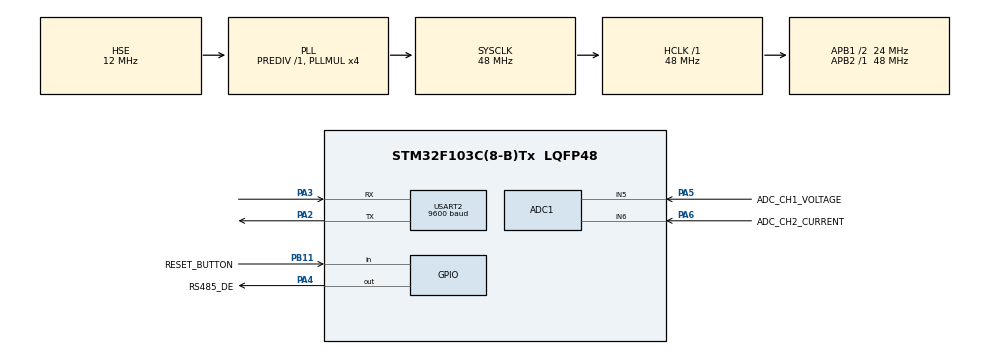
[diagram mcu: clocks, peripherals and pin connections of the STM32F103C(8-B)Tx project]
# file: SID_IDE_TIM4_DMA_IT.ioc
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ADC1.Channel-0\#ChannelRegularConversion=ADC_CHANNEL_5
ADC1.ContinuousConvMode=ENABLE
ADC1.ExternalTrigConv=ADC_EXTERNALTRIGCONV_T3_TRGO
ADC1.NbrOfConversionFlag=1
ADC1.Rank-0\#ChannelRegularConversion=1
ADC1.SamplingTime-0\#ChannelRegularConversion=ADC_SAMPLETIME_55CYCLES_5
ADC1.master=1
Dma.ADC1.0.Direction=DMA_PERIPH_TO_MEMORY
Dma.ADC1.0.Instance=DMA1_Channel1
Dma.ADC1.0.MemDataAlignment=DMA_MDATAALIGN_HALFWORD
Dma.ADC1.0.MemInc=DMA_MINC_ENABLE
Dma.ADC1.0.Mode=DMA_CIRCULAR
Dma.ADC1.0.PeriphDataAlignment=DMA_PDATAALIGN_HALFWORD
Dma.ADC1.0.PeriphInc=DMA_PINC_DISABLE
Dma.ADC1.0.Priority=DMA_PRIORITY_HIGH
Dma.Request0=ADC1
Dma.Request1=USART2_RX
Dma.Request2=USART2_TX
Dma.USART2_RX.1.Direction=DMA_PERIPH_TO_MEMORY
Dma.USART2_RX.1.Instance=DMA1_Channel6
Dma.USART2_RX.1.MemDataAlignment=DMA_MDATAALIGN_BYTE
Dma.USART2_RX.1.MemInc=DMA_MINC_ENABLE
Dma.USART2_RX.1.Mode=DMA_NORMAL
Dma.USART2_RX.1.PeriphDataAlignment=DMA_PDATAALIGN_BYTE
Dma.USART2_RX.1.PeriphInc=DMA_PINC_DISABLE
Dma.USART2_RX.1.Priority=DMA_PRIORITY_VERY_HIGH
Dma.USART2_TX.2.Direction=DMA_MEMORY_TO_PERIPH
Dma.USART2_TX.2.Instance=DMA1_Channel7
Dma.USART2_TX.2.MemDataAlignment=DMA_MDATAALIGN_BYTE
Dma.USART2_TX.2.MemInc=DMA_MINC_ENABLE
Dma.USART2_TX.2.Mode=DMA_NORMAL
Dma.USART2_TX.2.PeriphDataAlignment=DMA_PDATAALIGN_BYTE
Dma.USART2_TX.2.PeriphInc=DMA_PINC_DISABLE
Dma.USART2_TX.2.Priority=DMA_PRIORITY_HIGH
Mcu.Family=STM32F1
Mcu.Name=STM32F103C(8-B)Tx
Mcu.Package=LQFP48
NVIC.ADC1_2_IRQn=true\:7\:0\:true\:false\:true\:true\:true\:true
NVIC.DMA1_Channel1_IRQn=true\:5\:0\:true\:false\:true\:false\:true\:true
NVIC.DMA1_Channel6_IRQn=true\:1\:0\:true\:false\:true\:false\:true\:true
NVIC.DMA1_Channel7_IRQn=true\:3\:0\:true\:false\:true\:false\:true\:true
NVIC.PriorityGroup=NVIC_PRIORITYGROUP_4
NVIC.TIM2_IRQn=true\:2\:0\:true\:false\:true\:false\:true\:true
NVIC.TIM3_IRQn=true\:4\:0\:true\:false\:true\:false\:true\:true
NVIC.TIM4_IRQn=true\:6\:0\:true\:false\:true\:false\:true\:true
NVIC.USART2_IRQn=true\:2\:0\:true\:false\:true\:false\:true\:true
PA13.Mode=Serial_Wire
PA13.Signal=SYS_JTMS-SWDIO
PA14.Mode=Serial_Wire
PA14.Signal=SYS_JTCK-SWCLK
PA2.Mode=Asynchronous
PA2.Signal=USART2_TX
PA3.Mode=Asynchronous
PA3.Signal=USART2_RX
PA4.GPIO_Label=RS485_DE
PA4.Signal=GPIO_Output
PA5.GPIO_Label=ADC_CH1_VOLTAGE
PA5.Signal=ADCx_IN5
PA6.GPIO_Label=ADC_CH2_CURRENT
PA6.Signal=ADCx_IN6
PB11.GPIO_Label=RESET_BUTTON
PB11.GPIO_PuPd=GPIO_PULLUP
PB11.Signal=GPIO_Input
PD0-OSC_IN.Mode=HSE-External-Oscillator
PD0-OSC_IN.Signal=RCC_OSC_IN
PD1-OSC_OUT.Mode=HSE-External-Oscillator
PD1-OSC_OUT.Signal=RCC_OSC_OUT
ProjectManager.HeapSize=0x200
ProjectManager.StackSize=0x400
ProjectManager.TargetToolchain=STM32CubeIDE
RCC.ADCPresc=RCC_ADCPCLK2_DIV6
RCC.AHBFreq_Value=48000000
RCC.APB1CLKDivider=RCC_HCLK_DIV2
RCC.APB1Freq_Value=24000000
RCC.APB1TimFreq_Value=48000000
RCC.APB2Freq_Value=48000000
RCC.APB2TimFreq_Value=48000000
RCC.HCLKFreq_Value=48000000
RCC.HSE_VALUE=12000000
RCC.PLLMUL=RCC_PLL_MUL4
RCC.PLLSourceVirtual=RCC_PLLSOURCE_HSE
RCC.SYSCLKFreq_VALUE=48000000
RCC.SYSCLKSource=RCC_SYSCLKSOURCE_PLLCLK
RCC.USBFreq_Value=48000000
SH.ADCx_IN5.0=ADC1_IN5,IN5
SH.ADCx_IN6.0=ADC1_IN6,IN6
TIM2.AutoReloadPreload=TIM_AUTORELOAD_PRELOAD_ENABLE
TIM2.ClockDivision=TIM_CLOCKDIVISION_DIV1
TIM2.Period=4009
TIM2.Prescaler=47
TIM3.AutoReloadPreload=TIM_AUTORELOAD_PRELOAD_ENABLE
TIM3.ClockDivision=TIM_CLOCKDIVISION_DIV1
TIM3.Period=9
TIM3.Prescaler=47999
TIM3.TIM_MasterOutputTrigger=TIM_TRGO_UPDATE
TIM3.TIM_MasterSlaveMode=TIM_MASTERSLAVEMODE_ENABLE
TIM4.AutoReloadPreload=TIM_AUTORELOAD_PRELOAD_ENABLE
TIM4.ClockDivision=TIM_CLOCKDIVISION_DIV1
TIM4.Period=9
TIM4.Prescaler=4799
USART2.BaudRate=9600
USART2.VirtualMode=VM_ASYNC
VP_ADC1_Vref_Input.Mode=IN-Vrefint
VP_TIM2_VS_ClockSourceINT.Mode=Internal
VP_TIM2_VS_OPM.Mode=OPM_bit
VP_TIM3_VS_ClockSourceINT.Mode=Internal
VP_TIM4_VS_ClockSourceINT.Mode=Internal
board=custom

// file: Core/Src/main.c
/* USER CODE BEGIN Header */
/**
  ******************************************************************************
  * @file    main.c
  * @brief   Main program body с системой разграничения доступа
  ******************************************************************************
  * Основной файл системы с реализацией системы разграничения доступа.
  * Уровни доступа:
  * - Уровень 0: только чтение (по умолчанию после включения)
  * - Уровень 1: специалист эксплуатации (пароль 0x55AA)
  * - Уровень 2: специалист производителя (пароль 0x77FF)
  * Аппаратный сброс кнопкой: сброс только коммуникационных настроек (регистры 0-4)
  ******************************************************************************
  */
/* USER CODE END Header */

#include "main.h"

/* USER CODE BEGIN Includes */
#include "globals.h"
#include "adc.h"
#include "modbus.h"
#include "config.h"
#include "utilities.h"
/* USER CODE END Includes */

ADC_HandleTypeDef hadc1;
DMA_HandleTypeDef hdma_adc1;

TIM_HandleTypeDef htim2;
TIM_HandleTypeDef htim3;
TIM_HandleTypeDef htim4;

UART_HandleTypeDef huart2;
DMA_HandleTypeDef hdma_usart2_rx;
DMA_HandleTypeDef hdma_usart2_tx;

/* USER CODE BEGIN PV */
// Обработка кнопки сброса с новой логикой
static uint32_t reset_button_press_time = 0;
static bool reset_button_active = false;

// Внешние переменные из модулей
extern volatile bool modbus_frame_ready;
extern volatile uint8_t current_access_level;  // Текущий уровень доступа
/* USER CODE END PV */

void SystemClock_Config(void);
static void MX_GPIO_Init(void);
static void MX_DMA_Init(void);
static void MX_ADC1_Init(void);
static void MX_TIM2_Init(void);
static void MX_TIM3_Init(void);
static void MX_TIM4_Init(void);
static void MX_USART2_UART_Init(void);
/* USER CODE BEGIN PFP */
// Приватные прототипы функций
static void System_Timers_Init(void);
static void Check_Reset_Button(void);
static void Reset_Communication_Settings(void);
/* USER CODE END PFP */

int main(void)
{
  /* USER CODE BEGIN 1 */
  // Переменные инициализации
  /* USER CODE END 1 */

  /* MCU Configuration--------------------------------------------------------*/

  /* Reset of all peripherals, Initializes the Flash interface and the Systick. */
  HAL_Init();

  /* Configure the system clock */
  SystemClock_Config();

  /* Initialize all configured peripherals */
  MX_GPIO_Init();
  MX_DMA_Init();
  MX_ADC1_Init();
  MX_TIM2_Init();
  MX_TIM3_Init();
  MX_TIM4_Init();
  MX_USART2_UART_Init();
  /* USER CODE BEGIN 2 */
  /* Инициализация ЕДИНСТВЕННОГО системного таймера на TIM4 */
  System_Timers_Init();
  /* Отключаем SysTick чтобы избежать конфликтов */
  HAL_SuspendTick();

  /* 1. Загрузка конфигурации из Flash памяти */
  /* ПРИ ПЕРВОМ ВКЛЮЧЕНИИ АВТОМАТИЧЕСКИ СОЗДАЕТСЯ КОНФИГУРАЦИЯ ПО УМОЛЧАНИЮ */
  CONFIG_Load();

  /* 2. Применение настроек UART и таймеров из загруженной конфигурации */
  MODBUS_Apply_Config();

  /* 3. Установка периода опроса АЦП из регистра Modbus */
  if (modbus_registers[MB_ADC_POLL_PERIOD] == 0)
  {
    modbus_registers[MB_ADC_POLL_PERIOD] = 10; // Значение по умолчанию
  }
  ADC_Set_Poll_Period(modbus_registers[MB_ADC_POLL_PERIOD]);

  /* 4. Инициализация и запуск АЦП с DMA */
  ADC_Init_Start();

  /* 5. Запуск таймера TIM3 для триггера преобразований АЦП */
  HAL_TIM_Base_Start(&htim3);

  /* 6. ЗАПУСК НЕПРЕРЫВНОГО ПРИЕМА ЧЕРЕЗ NORMAL DMA */
  HAL_UART_Receive_DMA(&huart2, modbus_rx_buffer, MODBUS_RX_BUFFER_SIZE);

  /* 7. Включение прерывания по IDLE линии */
  __HAL_UART_ENABLE_IT(&huart2, UART_IT_IDLE);

  /* 8. Инициализация времени последнего приема */
  modbus_last_rx_time = GET_TICKS();

  /* USER CODE END 2 */

  /* Infinite loop */
  while (1)
  {

    /* USER CODE BEGIN 3 */
    // Основной цикл обработки системы с разграничением доступа

    /* ОБРАБОТКА MODBUS ЗАПРОСОВ */
    if (modbus_frame_ready)
    {
      /* Обрабатываем Modbus запрос (автоматическая запись при изменениях) */
      MODBUS_Process();
    }

    /* ПРОВЕРКА КНОПКИ СБРОСА КОММУНИКАЦИОННЫХ НАСТРОЕК */
    Check_Reset_Button();

    // Минимальная задержка для стабильности цикла
    HARDWARE_DELAY(1);

  }
  /* USER CODE END 3 */
}

void SystemClock_Config(void)
{
  RCC_OscInitTypeDef RCC_OscInitStruct = {0};
  RCC_ClkInitTypeDef RCC_ClkInitStruct = {0};
  RCC_PeriphCLKInitTypeDef PeriphClkInit = {0};

  /** Initializes the RCC Oscillators according to the specified parameters
  * in the RCC_OscInitTypeDef structure.
  */
  RCC_OscInitStruct.OscillatorType = RCC_OSCILLATORTYPE_HSE;
  RCC_OscInitStruct.HSEState = RCC_HSE_ON;
  RCC_OscInitStruct.HSEPredivValue = RCC_HSE_PREDIV_DIV1;
  RCC_OscInitStruct.HSIState = RCC_HSI_ON;
  RCC_OscInitStruct.PLL.PLLState = RCC_PLL_ON;
  RCC_OscInitStruct.PLL.PLLSource = RCC_PLLSOURCE_HSE;
  RCC_OscInitStruct.PLL.PLLMUL = RCC_PLL_MUL4;
  if (HAL_RCC_OscConfig(&RCC_OscInitStruct) != HAL_OK)
  {
    Error_Handler();
  }

  /** Initializes the CPU, AHB and APB buses clocks
  */
  RCC_ClkInitStruct.ClockType = RCC_CLOCKTYPE_HCLK|RCC_CLOCKTYPE_SYSCLK
                              |RCC_CLOCKTYPE_PCLK1|RCC_CLOCKTYPE_PCLK2;
  RCC_ClkInitStruct.SYSCLKSource = RCC_SYSCLKSOURCE_PLLCLK;
  RCC_ClkInitStruct.AHBCLKDivider = RCC_SYSCLK_DIV1;
  RCC_ClkInitStruct.APB1CLKDivider = RCC_HCLK_DIV2;
  RCC_ClkInitStruct.APB2CLKDivider = RCC_HCLK_DIV1;

  if (HAL_RCC_ClockConfig(&RCC_ClkInitStruct, FLASH_LATENCY_1) != HAL_OK)
  {
    Error_Handler();
  }
  PeriphClkInit.PeriphClockSelection = RCC_PERIPHCLK_ADC;
  PeriphClkInit.AdcClockSelection = RCC_ADCPCLK2_DIV6;
  if (HAL_RCCEx_PeriphCLKConfig(&PeriphClkInit) != HAL_OK)
  {
    Error_Handler();
  }
}

static void MX_ADC1_Init(void)
{

  ADC_ChannelConfTypeDef sConfig = {0};

  /** Common config
  */
  hadc1.Instance = ADC1;
  hadc1.Init.ScanConvMode = ADC_SCAN_DISABLE;
  hadc1.Init.ContinuousConvMode = ENABLE;
  hadc1.Init.DiscontinuousConvMode = DISABLE;
  hadc1.Init.ExternalTrigConv = ADC_EXTERNALTRIGCONV_T3_TRGO;
  hadc1.Init.DataAlign = ADC_DATAALIGN_RIGHT;
  hadc1.Init.NbrOfConversion = 1;
  if (HAL_ADC_Init(&hadc1) != HAL_OK)
  {
    Error_Handler();
  }

  /** Configure Regular Channel
  */
  sConfig.Channel = ADC_CHANNEL_5;
  sConfig.Rank = ADC_REGULAR_RANK_1;
  sConfig.SamplingTime = ADC_SAMPLETIME_55CYCLES_5;
  if (HAL_ADC_ConfigChannel(&hadc1, &sConfig) != HAL_OK)
  {
    Error_Handler();
  }
  /* USER CODE BEGIN ADC1_Init 2 */
  // Включаем внутренний источник опорного напряжения (VREFINT) для STM32F1
  ADC1->CR2 |= ADC_CR2_TSVREFE;  // Enable VREFINT and temperature sensor

  // Калибровка ADC (рекомендуется)
  if (HAL_ADCEx_Calibration_Start(&hadc1) != HAL_OK)
  {
    Error_Handler();
  }
  /* USER CODE END ADC1_Init 2 */

}

static void MX_TIM2_Init(void)
{

  TIM_ClockConfigTypeDef sClockSourceConfig = {0};
  TIM_MasterConfigTypeDef sMasterConfig = {0};

  htim2.Instance = TIM2;
  htim2.Init.Prescaler = 47;
  htim2.Init.CounterMode = TIM_COUNTERMODE_UP;
  htim2.Init.Period = 4009;
  htim2.Init.ClockDivision = TIM_CLOCKDIVISION_DIV1;
  htim2.Init.AutoReloadPreload = TIM_AUTORELOAD_PRELOAD_ENABLE;
  if (HAL_TIM_Base_Init(&htim2) != HAL_OK)
  {
    Error_Handler();
  }
  sClockSourceConfig.ClockSource = TIM_CLOCKSOURCE_INTERNAL;
  if (HAL_TIM_ConfigClockSource(&htim2, &sClockSourceConfig) != HAL_OK)
  {
    Error_Handler();
  }
  if (HAL_TIM_OnePulse_Init(&htim2, TIM_OPMODE_SINGLE) != HAL_OK)
  {
    Error_Handler();
  }
  sMasterConfig.MasterOutputTrigger = TIM_TRGO_RESET;
  sMasterConfig.MasterSlaveMode = TIM_MASTERSLAVEMODE_DISABLE;
  if (HAL_TIMEx_MasterConfigSynchronization(&htim2, &sMasterConfig) != HAL_OK)
  {
    Error_Handler();
  }

}

static void MX_TIM3_Init(void)
{

  TIM_ClockConfigTypeDef sClockSourceConfig = {0};
  TIM_MasterConfigTypeDef sMasterConfig = {0};

  htim3.Instance = TIM3;
  htim3.Init.Prescaler = 47999;
  htim3.Init.CounterMode = TIM_COUNTERMODE_UP;
  htim3.Init.Period = 9;
  htim3.Init.ClockDivision = TIM_CLOCKDIVISION_DIV1;
  htim3.Init.AutoReloadPreload = TIM_AUTORELOAD_PRELOAD_ENABLE;
  if (HAL_TIM_Base_Init(&htim3) != HAL_OK)
  {
    Error_Handler();
  }
  sClockSourceConfig.ClockSource = TIM_CLOCKSOURCE_INTERNAL;
  if (HAL_TIM_ConfigClockSource(&htim3, &sClockSourceConfig) != HAL_OK)
  {
    Error_Handler();
  }
  sMasterConfig.MasterOutputTrigger = TIM_TRGO_UPDATE;
  sMasterConfig.MasterSlaveMode = TIM_MASTERSLAVEMODE_ENABLE;
  if (HAL_TIMEx_MasterConfigSynchronization(&htim3, &sMasterConfig) != HAL_OK)
  {
    Error_Handler();
  }

}

static void MX_TIM4_Init(void)
{

  TIM_ClockConfigTypeDef sClockSourceConfig = {0};
  TIM_MasterConfigTypeDef sMasterConfig = {0};

  htim4.Instance = TIM4;
  htim4.Init.Prescaler = 4799;
  htim4.Init.CounterMode = TIM_COUNTERMODE_UP;
  htim4.Init.Period = 9;
  htim4.Init.ClockDivision = TIM_CLOCKDIVISION_DIV1;
  htim4.Init.AutoReloadPreload = TIM_AUTORELOAD_PRELOAD_ENABLE;
  if (HAL_TIM_Base_Init(&htim4) != HAL_OK)
  {
    Error_Handler();
  }
  sClockSourceConfig.ClockSource = TIM_CLOCKSOURCE_INTERNAL;
  if (HAL_TIM_ConfigClockSource(&htim4, &sClockSourceConfig) != HAL_OK)
  {
    Error_Handler();
  }
  sMasterConfig.MasterOutputTrigger = TIM_TRGO_RESET;
  sMasterConfig.MasterSlaveMode = TIM_MASTERSLAVEMODE_DISABLE;
  if (HAL_TIMEx_MasterConfigSynchronization(&htim4, &sMasterConfig) != HAL_OK)
  {
    Error_Handler();
  }

}

static void MX_USART2_UART_Init(void)
{

  huart2.Instance = USART2;
  huart2.Init.BaudRate = 9600;
  huart2.Init.WordLength = UART_WORDLENGTH_8B;
  huart2.Init.StopBits = UART_STOPBITS_1;
  huart2.Init.Parity = UART_PARITY_NONE;
  huart2.Init.Mode = UART_MODE_TX_RX;
  huart2.Init.HwFlowCtl = UART_HWCONTROL_NONE;
  huart2.Init.OverSampling = UART_OVERSAMPLING_16;
  if (HAL_UART_Init(&huart2) != HAL_OK)
  {
    Error_Handler();
  }
  /* USER CODE BEGIN USART2_Init 2 */
  // Включение IDLE прерывания сразу после инициализации
  __HAL_UART_ENABLE_IT(&huart2, UART_IT_IDLE);

  /* USER CODE END USART2_Init 2 */

}

static void MX_DMA_Init(void)
{

  /* DMA controller clock enable */
  __HAL_RCC_DMA1_CLK_ENABLE();

  /* DMA interrupt init */
  /* DMA1_Channel1_IRQn interrupt configuration */
  HAL_NVIC_SetPriority(DMA1_Channel1_IRQn, 5, 0);
  HAL_NVIC_EnableIRQ(DMA1_Channel1_IRQn);
  /* DMA1_Channel6_IRQn interrupt configuration */
  HAL_NVIC_SetPriority(DMA1_Channel6_IRQn, 1, 0);
  HAL_NVIC_EnableIRQ(DMA1_Channel6_IRQn);
  /* DMA1_Channel7_IRQn interrupt configuration */
  HAL_NVIC_SetPriority(DMA1_Channel7_IRQn, 3, 0);
  HAL_NVIC_EnableIRQ(DMA1_Channel7_IRQn);

}

static void MX_GPIO_Init(void)
{
  GPIO_InitTypeDef GPIO_InitStruct = {0};

  /* GPIO Ports Clock Enable */
  __HAL_RCC_GPIOC_CLK_ENABLE();
  __HAL_RCC_GPIOD_CLK_ENABLE();
  __HAL_RCC_GPIOA_CLK_ENABLE();
  __HAL_RCC_GPIOB_CLK_ENABLE();

  /*Configure GPIO pin Output Level */
  HAL_GPIO_WritePin(RS485_DE_GPIO_Port, RS485_DE_Pin, GPIO_PIN_RESET);

  /*Configure GPIO pins : PC13 PC14 PC15 */
  GPIO_InitStruct.Pin = GPIO_PIN_13|GPIO_PIN_14|GPIO_PIN_15;
  GPIO_InitStruct.Mode = GPIO_MODE_ANALOG;
  HAL_GPIO_Init(GPIOC, &GPIO_InitStruct);

  /*Configure GPIO pins : PA0 PA1 PA7 PA8
                           PA9 PA10 PA11 PA12
                           PA15 */
  GPIO_InitStruct.Pin = GPIO_PIN_0|GPIO_PIN_1|GPIO_PIN_7|GPIO_PIN_8
                          |GPIO_PIN_9|GPIO_PIN_10|GPIO_PIN_11|GPIO_PIN_12
                          |GPIO_PIN_15;
  GPIO_InitStruct.Mode = GPIO_MODE_ANALOG;
  HAL_GPIO_Init(GPIOA, &GPIO_InitStruct);

  /*Configure GPIO pin : RS485_DE_Pin */
  GPIO_InitStruct.Pin = RS485_DE_Pin;
  GPIO_InitStruct.Mode = GPIO_MODE_OUTPUT_PP;
  GPIO_InitStruct.Pull = GPIO_NOPULL;
  GPIO_InitStruct.Speed = GPIO_SPEED_FREQ_LOW;
  HAL_GPIO_Init(RS485_DE_GPIO_Port, &GPIO_InitStruct);

  /*Configure GPIO pins : PB0 PB1 PB2 PB10
                           PB12 PB13 PB14 PB15
                           PB3 PB4 PB5 PB6
                           PB7 PB8 PB9 */
  GPIO_InitStruct.Pin = GPIO_PIN_0|GPIO_PIN_1|GPIO_PIN_2|GPIO_PIN_10
                          |GPIO_PIN_12|GPIO_PIN_13|GPIO_PIN_14|GPIO_PIN_15
                          |GPIO_PIN_3|GPIO_PIN_4|GPIO_PIN_5|GPIO_PIN_6
                          |GPIO_PIN_7|GPIO_PIN_8|GPIO_PIN_9;
  GPIO_InitStruct.Mode = GPIO_MODE_ANALOG;
  HAL_GPIO_Init(GPIOB, &GPIO_InitStruct);

  /*Configure GPIO pin : RESET_BUTTON_Pin */
  GPIO_InitStruct.Pin = RESET_BUTTON_Pin;
  GPIO_InitStruct.Mode = GPIO_MODE_INPUT;
  GPIO_InitStruct.Pull = GPIO_PULLUP;
  HAL_GPIO_Init(RESET_BUTTON_GPIO_Port, &GPIO_InitStruct);

}

/* USER CODE BEGIN 4 */

/**
  * @brief Инициализация системных таймеров
  * @retval None
  */
static void System_Timers_Init(void)
{
  HAL_StatusTypeDef status;

  /* Запуск TIM4 как ЕДИНСТВЕННОГО системного таймера (1ms период) */
  status = HAL_TIM_Base_Start_IT(&htim4);

  if (status != HAL_OK)
  {
    Error_Handler();
  }

  /* TIM3 запускается позже для триггера АЦП */
  /* TIM2 запускается динамически для Modbus таймаутов */
}

/**
  * @brief Проверка кнопки сброса коммуникационных настроек
  * @retval None
  * @note При удержании кнопки 3 секунды сбрасываются ТОЛЬКО регистры 0-4
  *       Калибровочные коэффициенты и служебные регистры сохраняются
  */
static void Check_Reset_Button(void)
{
  // Проверяем состояние кнопки (активный низкий уровень - нажата)
  if (HAL_GPIO_ReadPin(RESET_BUTTON_GPIO_Port, RESET_BUTTON_Pin) == GPIO_PIN_RESET)
  {
    // Кнопка нажата
    if (!reset_button_active)
    {
      // Первое нажатие - запоминаем время начала
      reset_button_active = true;
      reset_button_press_time = GET_TICKS();
    }
    else
    {
      // Кнопка продолжает удерживаться
      if (TICKS_ELAPSED(reset_button_press_time, RESET_HOLD_TIME_MS))
      {
        // Прошло более 3 секунд - сбрасываем КОММУНИКАЦИОННЫЕ НАСТРОЙКИ
        Reset_Communication_Settings();
        // После сброса система продолжает работу
        reset_button_active = false;
      }
    }
  }
  else
  {
    // Кнопка отпущена - сбрасываем состояние
    reset_button_active = false;
  }
}

/**
  * @brief Сброс только коммуникационных настроек
  * @retval None
  * @note Сбрасывает регистры 0-4, сохраняя калибровку и служебные регистры
  *       Работает на ЛЮБОМ уровне доступа
  */
static void Reset_Communication_Settings(void)
{
  // Вызываем функцию сброса только коммуникационных настроек
  CONFIG_Reset_Communication_Settings();
}

/**
  * @brief  Callback периода таймера
  * @param  htim: указатель на handle таймера
  * @retval None
  */
void HAL_TIM_PeriodElapsedCallback(TIM_HandleTypeDef *htim)
{
  if (htim->Instance == TIM2)
  {
    /* Обработка таймаута Modbus 3.5 символов */
    MODBUS_Timeout_Handler();
  }
}

/**
  * @brief  Callback завершения передачи ADC DMA
  * @param  hadc: указатель на handle ADC
  * @retval None
  */
void HAL_ADC_ConvCpltCallback(ADC_HandleTypeDef* hadc)
{
  /* Check which ADC triggered the callback */
  if (hadc->Instance == ADC1)
  {
    /* User can add custom processing for ADC1 conversion complete */
  }
}

/**
  * @brief  This function is executed in case of error occurrence.
  * @retval None
  */
void Error_Handler(void)
{
  /* USER CODE BEGIN Error_Handler_Debug */
  /* User can add his own implementation to report the HAL error return state */
  __disable_irq();
  while (1)
  {
    // Мигание светодиодом или другая индикация ошибки
  }
  /* USER CODE END Error_Handler_Debug */
}

/* USER CODE END 4 */
